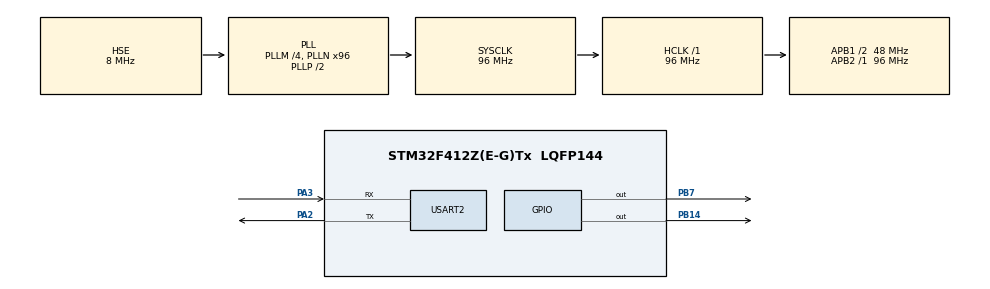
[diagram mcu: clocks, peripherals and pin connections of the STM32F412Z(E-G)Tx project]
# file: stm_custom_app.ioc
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Mcu.Family=STM32F4
Mcu.Name=STM32F412Z(E-G)Tx
Mcu.Package=LQFP144
NVIC.PriorityGroup=NVIC_PRIORITYGROUP_4
NVIC.USART2_IRQn=true\:0\:0\:false\:false\:true\:true\:true
PA2.Mode=Asynchronous
PA2.Signal=USART2_TX
PA3.Mode=Asynchronous
PA3.Signal=USART2_RX
PB14.PinState=GPIO_PIN_SET
PB14.Signal=GPIO_Output
PB7.PinState=GPIO_PIN_SET
PB7.Signal=GPIO_Output
PH0\ -\ OSC_IN.Mode=HSE-External-Oscillator
PH0\ -\ OSC_IN.Signal=RCC_OSC_IN
PH1\ -\ OSC_OUT.Mode=HSE-External-Oscillator
PH1\ -\ OSC_OUT.Signal=RCC_OSC_OUT
ProjectManager.HeapSize=0x1000
ProjectManager.StackSize=0x400
ProjectManager.TargetToolchain=STM32CubeIDE
RCC.AHBFreq_Value=96000000
RCC.APB1CLKDivider=RCC_HCLK_DIV2
RCC.APB1Freq_Value=48000000
RCC.APB1TimFreq_Value=96000000
RCC.APB2Freq_Value=96000000
RCC.APB2TimFreq_Value=96000000
RCC.CortexFreq_Value=96000000
RCC.HCLKFreq_Value=96000000
RCC.HSE_VALUE=8000000
RCC.PLLM=4
RCC.PLLN=96
RCC.PLLSourceVirtual=RCC_PLLSOURCE_HSE
RCC.SYSCLKFreq_VALUE=96000000
RCC.SYSCLKSource=RCC_SYSCLKSOURCE_PLLCLK
RCC.USBFreq_Value=96000000
RCC.VCOOutputFreq_Value=192000000
USART2.VirtualMode=VM_ASYNC
board=custom

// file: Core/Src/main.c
/* USER CODE BEGIN Header */
/**
  ******************************************************************************
  * @file           : main.c
  * @brief          : Main program body
  ******************************************************************************
  * @attention
  *
  * <h2><center>&copy; Copyright (c) 2021 STMicroelectronics.
  * All rights reserved.</center></h2>
  *
  * This software component is licensed by ST under BSD 3-Clause license,
  * the "License"; You may not use this file except in compliance with the
  * License. You may obtain a copy of the License at:
  *                        opensource.org/licenses/BSD-3-Clause
  *
  ******************************************************************************
  */
/* USER CODE END Header */
#include "main.h"
#include "usart.h"
#include "gpio.h"

/* USER CODE BEGIN Includes */
#include <stdio.h>
#include <string.h>
/* USER CODE END Includes */

/* USER CODE BEGIN PM */
#define ADDR_DFU_CUSTOM    ((uint32_t*)0x807FC00)

// uint8_t dfu_done __attribute__((at(0x807FC00))) = 0x77;
__attribute__((section(".dfu_section"))) uint32_t dfu_complete = 0x99;

#define KEY "1234567890abcdefghij1234567890q"
#define VER 83

typedef struct {
  uint8_t private_key[32];
  uint16_t version;
} fw_info_t;

fw_info_t fw_info_sim __attribute__((section(".fw_info"))) =
{
  .private_key = KEY,
  .version = VER
};

// __attribute__((section(".fw_info"))) fw_info_t fw_info_sim =
// {
//   "1234567890abcdefghij1234567890q",
//   83
// };

/* USER CODE END PM */

void SystemClock_Config(void);

/* USER CODE BEGIN 0 */
// int _write(int file, char* p, int len)
// {
//   HAL_UART_Transmit_IT(&huart2, (uint8_t*)&p, len);
//   return len;
// }

int __io_putchar(int ch)
{
	// if(HAL_UART_Transmit(&huart2, (uint8_t *)&ch, 1, 10) != HAL_OK)
	// 	return -1;
	HAL_UART_Transmit(&huart2, (uint8_t *)&ch, 1, 10);
	return ch;
}
/* USER CODE END 0 */

int main(void)
{
  /* USER CODE BEGIN 1 */
  // SCB->VTOR = 0x8010000;
  /* USER CODE END 1 */

  /* MCU Configuration--------------------------------------------------------*/

  /* Reset of all peripherals, Initializes the Flash interface and the Systick. */
  HAL_Init();

  /* Configure the system clock */
  SystemClock_Config();

  /* Initialize all configured peripherals */
  MX_GPIO_Init();
  MX_USART2_UART_Init();
  /* USER CODE BEGIN 2 */
  printf("app main code start version : %d \r\n", fw_info_sim.version);
  /* USER CODE END 2 */

  /* Infinite loop */
  /* USER CODE BEGIN WHILE */
  HAL_GPIO_WritePin(GPIOB, GPIO_PIN_7, GPIO_PIN_RESET);

  while (1)
  {
	  HAL_GPIO_TogglePin(GPIOB, GPIO_PIN_14);
	  HAL_GPIO_TogglePin(GPIOB, GPIO_PIN_7);
	  HAL_Delay(500);
    // printf("1 \r\n");
    /* USER CODE END WHILE */

  }
}

void SystemClock_Config(void)
{
  RCC_OscInitTypeDef RCC_OscInitStruct = {0};
  RCC_ClkInitTypeDef RCC_ClkInitStruct = {0};

  /** Configure the main internal regulator output voltage
  */
  __HAL_RCC_PWR_CLK_ENABLE();
  __HAL_PWR_VOLTAGESCALING_CONFIG(PWR_REGULATOR_VOLTAGE_SCALE1);
  /** Initializes the RCC Oscillators according to the specified parameters
  * in the RCC_OscInitTypeDef structure.
  */
  RCC_OscInitStruct.OscillatorType = RCC_OSCILLATORTYPE_HSE;
  RCC_OscInitStruct.HSEState = RCC_HSE_ON;
  RCC_OscInitStruct.PLL.PLLState = RCC_PLL_ON;
  RCC_OscInitStruct.PLL.PLLSource = RCC_PLLSOURCE_HSE;
  RCC_OscInitStruct.PLL.PLLM = 4;
  RCC_OscInitStruct.PLL.PLLN = 96;
  RCC_OscInitStruct.PLL.PLLP = RCC_PLLP_DIV2;
  RCC_OscInitStruct.PLL.PLLQ = 2;
  RCC_OscInitStruct.PLL.PLLR = 2;
  if (HAL_RCC_OscConfig(&RCC_OscInitStruct) != HAL_OK)
  {
    Error_Handler();
  }
  /** Initializes the CPU, AHB and APB buses clocks
  */
  RCC_ClkInitStruct.ClockType = RCC_CLOCKTYPE_HCLK|RCC_CLOCKTYPE_SYSCLK
                              |RCC_CLOCKTYPE_PCLK1|RCC_CLOCKTYPE_PCLK2;
  RCC_ClkInitStruct.SYSCLKSource = RCC_SYSCLKSOURCE_PLLCLK;
  RCC_ClkInitStruct.AHBCLKDivider = RCC_SYSCLK_DIV1;
  RCC_ClkInitStruct.APB1CLKDivider = RCC_HCLK_DIV2;
  RCC_ClkInitStruct.APB2CLKDivider = RCC_HCLK_DIV1;

  if (HAL_RCC_ClockConfig(&RCC_ClkInitStruct, FLASH_LATENCY_3) != HAL_OK)
  {
    Error_Handler();
  }
}

void Error_Handler(void)
{
  __disable_irq();
  while (1)
  {
  }
}

/************************ (C) COPYRIGHT STMicroelectronics *****END OF FILE****/
